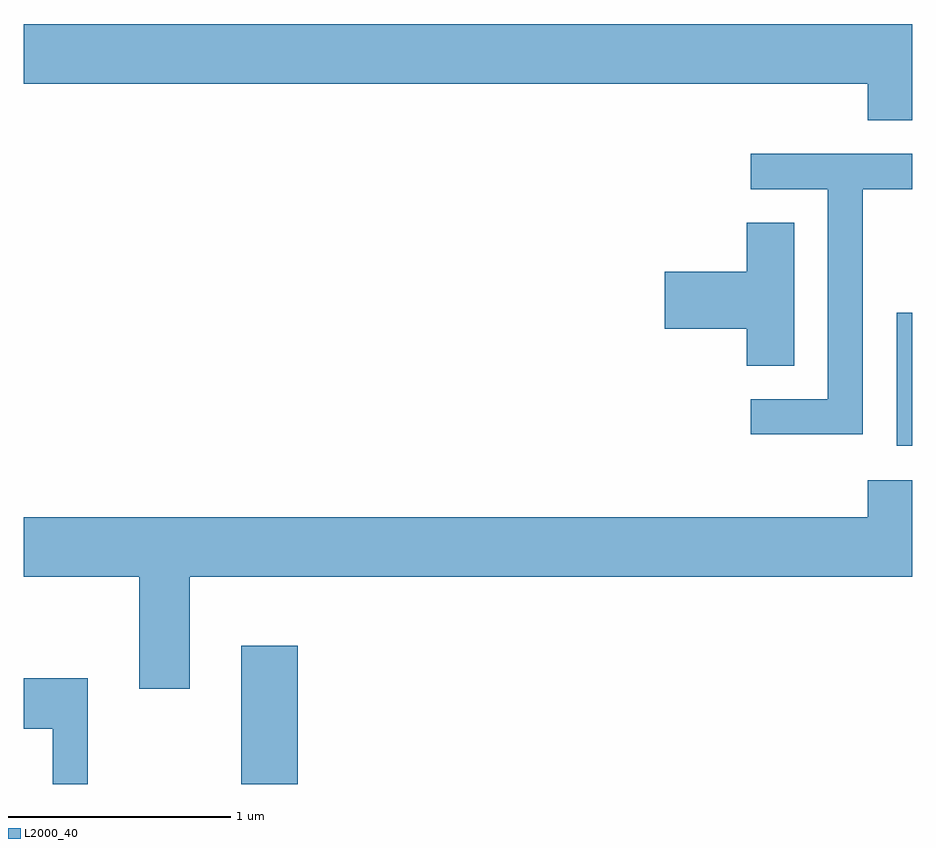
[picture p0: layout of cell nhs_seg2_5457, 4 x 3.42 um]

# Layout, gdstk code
import gdstk
lib = gdstk.Library(unit=1e-6, precision=1e-09)
def R(c, l, rs):  # rectangles x0, y0, x1, y1
    for r in rs: c.add(gdstk.rectangle(r[:2], r[2:], *l))
def P(c, l, *ps):  # polygons
    for p in ps: c.add(gdstk.Polygon(p, *l))
L2000_40 = (2000, 40)

nhs_seg2_5457 = lib.new_cell('nhs_seg2_5457')
R(nhs_seg2_5457, L2000_40, [(346.591,1071.802,346.844,1072.424), (349.541,1073.326,349.611,1073.924)])
P(nhs_seg2_5457, L2000_40, [(349.611,1075.224),(345.611,1075.224),(345.611,1074.956),(349.411,1074.956),(349.411,1074.791),(349.611,1074.791)],
  [(349.389,1074.481),(349.611,1074.481),(349.611,1074.639),(348.883,1074.639),(348.883,1074.481),(349.231,1074.481),(349.231,1073.534),(348.883,1073.534),(348.883,1073.376),(349.389,1073.376)],
  [(349.079,1074.329),(348.866,1074.329),(348.866,1074.109),(348.496,1074.109),(348.496,1073.851),(348.866,1073.851),(348.866,1073.686),(349.079,1073.686)],
  [(346.359,1072.736),(349.611,1072.736),(349.611,1073.169),(349.411,1073.169),(349.411,1073.004),(345.611,1073.004),(345.611,1072.736),(346.131,1072.736),(346.131,1072.231),(346.359,1072.231)],
  [(345.899,1072.279),(345.611,1072.279),(345.611,1072.051),(345.741,1072.051),(345.741,1071.802),(345.899,1071.802)])

lib.write_gds('nhs_seg2_5457.gds')
